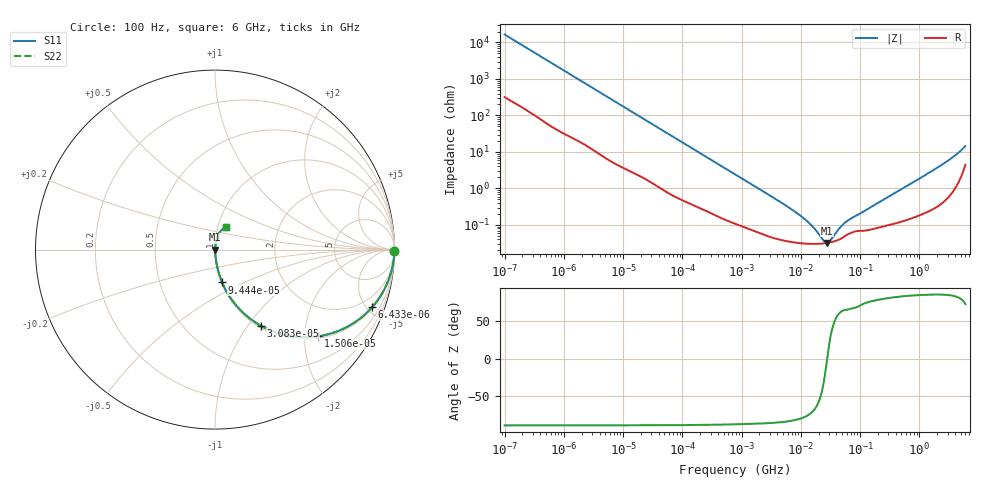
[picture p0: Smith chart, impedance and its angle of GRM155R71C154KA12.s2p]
!Murata Part Number: GRM155R71C154KA12
!These Parameters are Measured in Series Mode Connection
!Data Generated on Mar 30, 2021
!  o--ll--o
!Port1  Port2
!  o------o
!Operation Temp=25[degC], DC Bias Voltage=0[V]
!Freq. Start=100[Hz] Stop=6[GHz] 401[Steps]
# Hz S RI R 50
!Freq.(Hz) S11(Real) S11(Imag) S21(Real) S21(Imag) S12(Real) S12(Imag) S22(Real) S22(Imag)
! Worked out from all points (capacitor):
!   401 points, 100 Hz to 6 GHz, reference 50 ohm
!   read as one part in series: C = 95.5 nF near 109 Hz
!   lowest |Z| = 32.1 mohm at 27.84 MHz (marker M1)
!   series resonance near 27.86 MHz, so ESL is about 340 pH
!   S11 on the Smith chart (normalised r, x): 100 Hz: open; 6.433 kHz: 1.11, -5.43; 15.06 kHz: 1.05, -2.34; 30.83 kHz: 1.03, -1.16; 94.44 kHz: 1.01, -0.38; 6 GHz: 1.09, +0.28
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100  0.9998 -0.00603  0.000152 0.00603  0.000152 0.00603  0.9998 -0.00603
600  0.9981 -0.0353  0.00188 0.0353  0.00188 0.0353  0.9981 -0.0353
2008  0.9843 -0.1146  0.0157 0.1146  0.0157 0.1146  0.9843 -0.1146
6433  0.8757 -0.3203  0.1243 0.3203  0.1243 0.3203  0.8757 -0.3203
9626  0.7638 -0.4145  0.2362 0.4145  0.2362 0.4145  0.7638 -0.4145
15062  0.5766 -0.4828  0.4234 0.4828  0.4234 0.4828  0.5766 -0.4828
30832  0.2563 -0.4246  0.7437 0.4246  0.7437 0.4246  0.2563 -0.4246
40335  0.1709 -0.3646  0.8291 0.3646  0.8291 0.3646  0.1709 -0.3646
94437  0.0399 -0.1833  0.9601 0.1833  0.9601 0.1833  0.0399 -0.1833
231233  0.00883 -0.0786  0.9912 0.0786  0.9912 0.0786  0.00883 -0.0786
774597  0.00167 -0.0242  0.9983 0.0242  0.9983 0.0242  0.00167 -0.0242
6353432  0.000357 -0.00295  0.9996 0.00295  0.9996 0.00295  0.000357 -0.00295
1.087309e7  0.000313 -0.00155  0.9997 0.00155  0.9997 0.00155  0.000313 -0.00155
1.555665e7  0.000303 -0.000884  0.9997 0.000884  0.9997 0.000884  0.000303 -0.000884
2.434276e7  0.000312 -0.000194  0.9997 0.000194  0.9997 0.000194  0.000312 -0.000194
2.784235e7  0.000321 -1.1e-06  0.9997 1.1e-06  0.9997 1.1e-06  0.000321 -1.1e-06
3.184506e7  0.000334 0.000192  0.9997 -0.000192  0.9997 -0.000192  0.000334 0.000192
4.556224e7  0.000406 0.00073  0.9996 -0.00073  0.9996 -0.00073  0.000406 0.00073
5.960426e7  0.000536 0.00114  0.9995 -0.00114  0.9995 -0.00114  0.000536 0.00114
3.124326e8  0.00103 0.006  0.999 -0.006  0.999 -0.006  0.00103 0.006
2.240541e9  0.00525 0.041  0.9947 -0.041  0.9947 -0.041  0.00525 0.041
6e9  0.0591 0.1251  0.9409 -0.1251  0.9409 -0.1251  0.0591 0.1251
